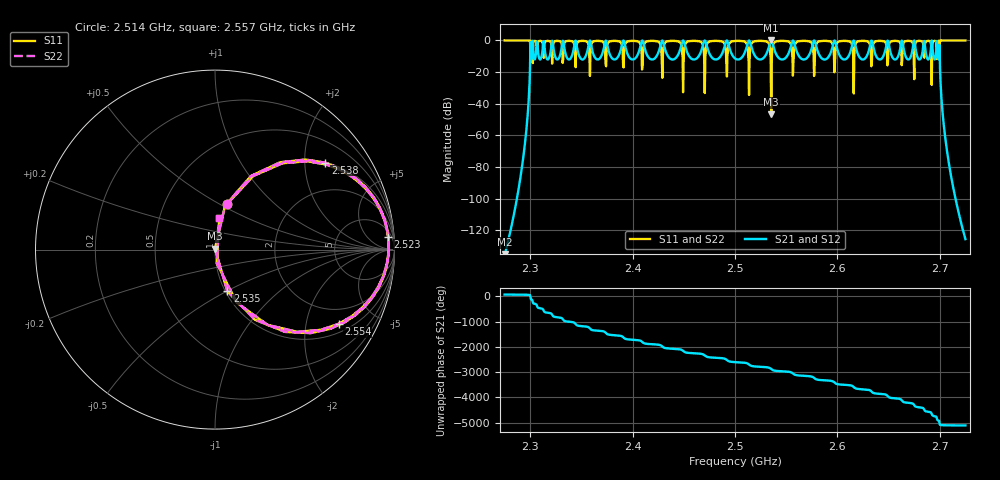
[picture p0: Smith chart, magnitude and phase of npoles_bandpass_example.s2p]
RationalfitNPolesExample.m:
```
%% Using the 'NPoles' Parameter with rationalfit
% This example shows how to use the 'NPoles' parameter to improve the
% quality of the output of <matlab:doc('rf/rationalfit'); |rationalfit|>.
% By default, the <matlab:doc('rf/rationalfit'); |rationalfit|> function
% uses 48 or fewer poles to find the rational function that best matches
% the data.  If 48 poles is not enough, it may be advantageous to change
% the range of the number of poles used by <matlab:doc('rf/rationalfit');
% |rationalfit|>.
%
% First, read in the bandpass filter data contained in the file
% |npoles_bandpass_example.s2p|, and plot the |S21| data.  Next, use the
% <matlab:doc('rf/rationalfit'); |rationalfit|> function to fit a rational
% function to the |S21| data, with the 'NPoles' parameter set to it's
% default value, and visually compare the results to the original data.
% Lastly, use <matlab:doc('rf/rationalfit'); |rationalfit|> again, this
% time specifing a larger number of poles, and see if the result improves.

%% Read and Visualize the Data
S = sparameters('npoles_bandpass_example.s2p');
figure
subplot(2,1,1)
rfplot(S,2,1,'db')
subplot(2,1,2)
rfplot(S,2,1,'angle')

%% Analyze the Output of rationalfit when Using the Default Value for 'NPoles'
% Use the <matlab:doc('rf/rfparam'); |rfparam|> function to extract the
% |S21| values, and then call <matlab:doc('rf/rationalfit');
% |rationalfit|>.
s21 = rfparam(S,2,1);
datafreq = S.Frequencies;
defaultfit = rationalfit(datafreq,s21);

%%
% Use the <matlab:doc('rf/freqresp'); |freqresp|> function to calculate the
% response of the output of <matlab:doc('rf/rationalfit'); |rationalfit|>.
respfreq = 2.25e9:2e5:2.75e9;
defaultresp = freqresp(defaultfit,respfreq);

%%
% Compare the original data against the frequency response of the default
% rational function calculated by <matlab:doc('rf/rationalfit');
% |rationalfit|>.
subplot(2,1,1)
plot(datafreq,20*log10(abs(s21)),'.-')
hold on
plot(respfreq,20*log10(abs(defaultresp)))
hold off
xlabel('Frequency (Hz)')
ylabel('Magnitude (dB)')
defaultnpoles = numel(defaultfit.A);
defaultstr = ['Default NPoles (Uses ',num2str(defaultnpoles),' poles)'];
title(defaultstr)
legend('Original Data','Default rationalfit','Location','best')
subplot(2,1,2)
plot(datafreq,unwrap(angle(s21))*180/pi,'.-')
hold on
plot(respfreq,unwrap(angle(defaultresp))*180/pi)
hold off
xlabel('Frequency (Hz)')
ylabel('Angle (degrees)')
legend('Original Data','Default rationalfit','Location','best')

%%
% Analyzing how well the output of <matlab:doc('rf/rationalfit');
% |rationalfit|> matches the original data, it appears that while the
% default values of <matlab:doc('rf/rationalfit'); |rationalfit|> do a
% reasonably good job in the center of the bandpass region, the fit is poor
% on the edges of the bandpass region.  It is possible that using a more
% complex rational function will achieve a better fit.

%% Analyze the Output of rationalfit when Using a Custom Value for 'NPoles'
% Fit the original |S21| data, but this time, instruct
% <matlab:doc('rf/rationalfit'); |rationalfit|> to use between 49 and 60
% poles using the 'NPoles' parameter.
customfit = rationalfit(datafreq,s21,'NPoles',[49 60]);
customresp = freqresp(customfit,respfreq);

%%
% Compare the original data against the frequency response of the custom
% rational function calculated by <matlab:doc('rf/rationalfit');
% |rationalfit|>.
figure
subplot(2,1,1)
plot(datafreq,20*log10(abs(s21)),'.-')
hold on
plot(respfreq,20*log10(abs(customresp)))
hold off
xlabel('Frequency (Hz)')
ylabel('Magnitude (dB)')
customnpoles = numel(customfit.A);
customstr = ['NPoles = [49 60] (Uses ',num2str(customnpoles),' poles)'];
title(customstr)
legend('Original Data','Custom rationalfit','Location','best')
subplot(2,1,2)
plot(datafreq,unwrap(angle(s21))*180/pi,'.-')
hold on
plot(respfreq,unwrap(angle(customresp))*180/pi)
hold off
xlabel('Frequency (Hz)')
ylabel('Angle (degrees)')
legend('Original Data','Custom rationalfit','Location','best')

%%
% The fit using a larger number of poles is clearly more precise.
```
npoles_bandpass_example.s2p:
# GHz S RI R 50
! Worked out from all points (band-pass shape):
!   1000 points, 2.275 GHz to 2.725 GHz, reference 50 ohm
!   highest |S21| = 0.00 dB at 2.535 GHz (marker M1); lowest = -136.0 dB at 2.275 GHz (marker M2)
!   |S21| within 3 dB of the highest: 2.49019 GHz to 2.493785 GHz (3.595 MHz wide, 0.144 % of centre); 2.554917 GHz to 2.558411 GHz (3.494 MHz wide, 0.137 % of centre)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
!   lowest |S11| = -46.6 dB at 2.535 GHz (marker M3), VSWR 1.01, Z = 50 + j0.466 ohm
!   |S11| at or under -10 dB: 2.448762 GHz to 2.449984 GHz (1.221 MHz wide, 0.0499 % of centre); 2.513059 GHz to 2.514339 GHz (1.28 MHz wide, 0.0509 % of centre); 2.534716 GHz to 2.535985 GHz (1.27 MHz wide, 0.0501 % of centre)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
!   |S22| runs from -46.6 to 0.0 dB; largest |S21 - S12| = 0
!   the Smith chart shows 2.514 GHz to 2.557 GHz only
!   S11 on the Smith chart (normalised r, x): 2.514 GHz: 1.00, +0.54; 2.523 GHz: 10, +22; 2.535 GHz: 1.02, -0.50; 2.538 GHz: 1.01, +2.53; 2.554 GHz: 1.32, -3.08; 2.557 GHz: 0.98, +0.36
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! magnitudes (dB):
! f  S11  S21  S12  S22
! 2.275 GHz  0.0  -136.0  -136.0  0.0
! 2.305 GHz  -0.3  -11.7  -11.7  -0.3
! 2.5 GHz  -0.3  -11.4  -11.4  -0.3
! 2.514 GHz  -11.6  -0.3  -0.3  -11.6
! 2.523 GHz  -0.3  -11.9  -11.9  -0.3
! 2.535 GHz  -12.3  -0.3  -0.3  -12.3
! 2.535 GHz  -46.6  0.0  0.0  -46.6
! 2.538 GHz  -2.1  -4.1  -4.1  -2.1
! 2.554 GHz  -1.9  -4.5  -4.5  -1.9
! 2.557 GHz  -14.9  -0.1  -0.1  -14.9
! 2.725 GHz  0.0  -125.5  -125.5  0.0
